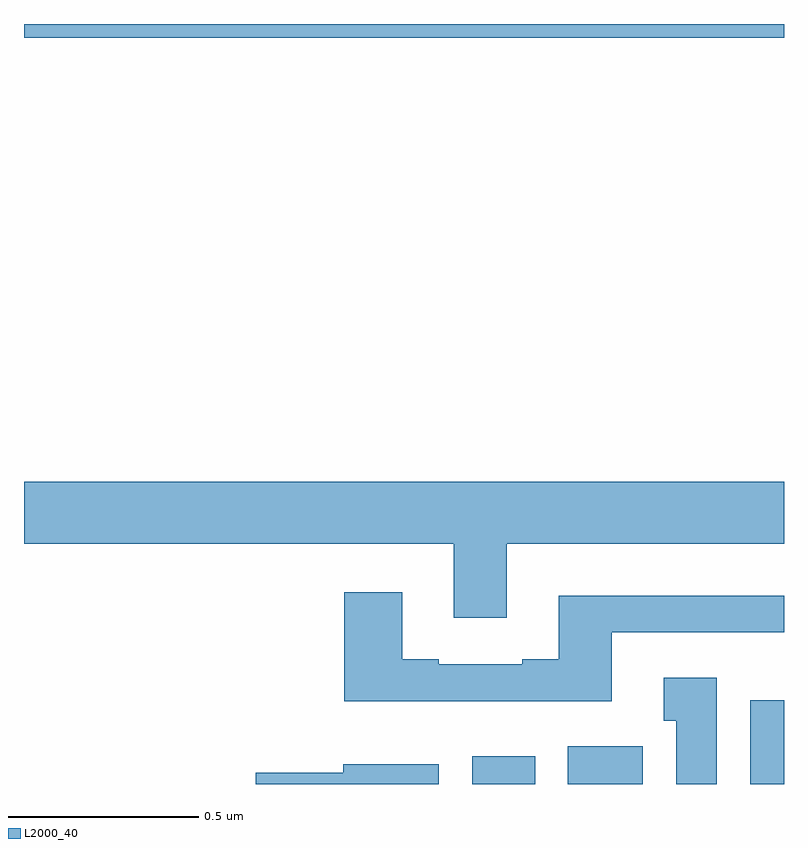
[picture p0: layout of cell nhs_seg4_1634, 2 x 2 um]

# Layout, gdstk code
import gdstk
lib = gdstk.Library(unit=1e-6, precision=1e-09)
def R(c, l, rs):  # rectangles x0, y0, x1, y1
    for r in rs: c.add(gdstk.rectangle(r[:2], r[2:], *l))
def P(c, l, *ps):  # polygons
    for p in ps: c.add(gdstk.Polygon(p, *l))
L2000_40 = (2000, 40)

nhs_seg4_1634 = lib.new_cell('nhs_seg4_1634')
R(nhs_seg4_1634, L2000_40, [(132.179,750.9,132.346,750.973), (132.431,750.9,132.628,751), (132.911,750.9,133,751.12), (131,752.864,133,752.9)])
P(nhs_seg4_1634, L2000_40, [(132.271,751.532),(133,751.532),(133,751.696),(131,751.696),(131,751.532),(132.131,751.532),(132.131,751.338),(132.271,751.338)],
  [(132.547,751.299),(133,751.299),(133,751.396),(132.407,751.396),(132.407,751.228),(132.311,751.228),(132.311,751.215),(132.091,751.215),(132.091,751.228),(131.995,751.228),(131.995,751.405),(131.843,751.405),(131.843,751.118),(132.547,751.118)],
  [(132.823,751.18),(132.683,751.18),(132.683,751.067),(132.716,751.067),(132.716,750.9),(132.823,750.9)],
  [(132.091,750.952),(131.84,750.952),(131.84,750.929),(131.61,750.929),(131.61,750.9),(132.091,750.9)])

lib.write_gds('nhs_seg4_1634.gds')
